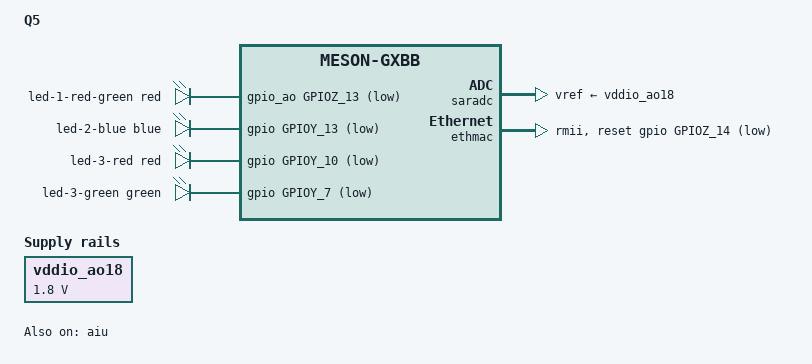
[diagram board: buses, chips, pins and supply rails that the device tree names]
// SPDX-License-Identifier: (GPL-2.0+ OR MIT)
/dts-v1/;

#include <dt-bindings/leds/common.h>
#include "meson-gxbb-p20x.dtsi"

/ {
	compatible = "amlogic,p201", "amlogic,meson-gxbb";
	model = "Q5";
	chassis-type = "embedded";

	vddio_ao18: regulator-vddio-ao18 {
		compatible = "regulator-fixed";
		regulator-name = "VDDIO_AO18";
		regulator-min-microvolt = <1800000>;
		regulator-max-microvolt = <1800000>;
		regulator-always-on;
	};

	leds {
		compatible = "gpio-leds";

		/*led-1 R|G led-2 B led-3 R&G*/
		led-1-red-green {
			label = "led-1-red-green";
			color = <LED_COLOR_ID_RED>;
			gpios = <&gpio_ao GPIOZ_13 GPIO_ACTIVE_LOW>;
			default-state = "off";
			panic-indicator;
		};

		led-2-blue {
			label = "led-2-blue";
			color = <LED_COLOR_ID_BLUE>;
			gpios = <&gpio GPIOY_13 GPIO_ACTIVE_LOW>;
			linux,default-trigger = "timer";
		};

		led-3-red {
			label = "led-3-red";
			color = <LED_COLOR_ID_RED>;
			gpios = <&gpio GPIOY_10 GPIO_ACTIVE_LOW>;
			default-state = "off";
		};

		led-3-green {
			label = "led-3-green";
			color = <LED_COLOR_ID_GREEN>;
			gpios = <&gpio GPIOY_7 GPIO_ACTIVE_LOW>;
			default-state = "off";
		};
	};
};

&saradc {
	status = "okay";
	vref-supply = <&vddio_ao18>;
};

&aiu {
	status = "okay";
};

&ethmac {
	status = "okay";
	pinctrl-0 = <&eth_rmii_pins>;
	pinctrl-names = "default";
	phy-mode = "rmii";

	snps,reset-gpio = <&gpio GPIOZ_14 0>;
	snps,reset-delays-us = <0>, <10000>, <1000000>;
	snps,reset-active-low;
};
